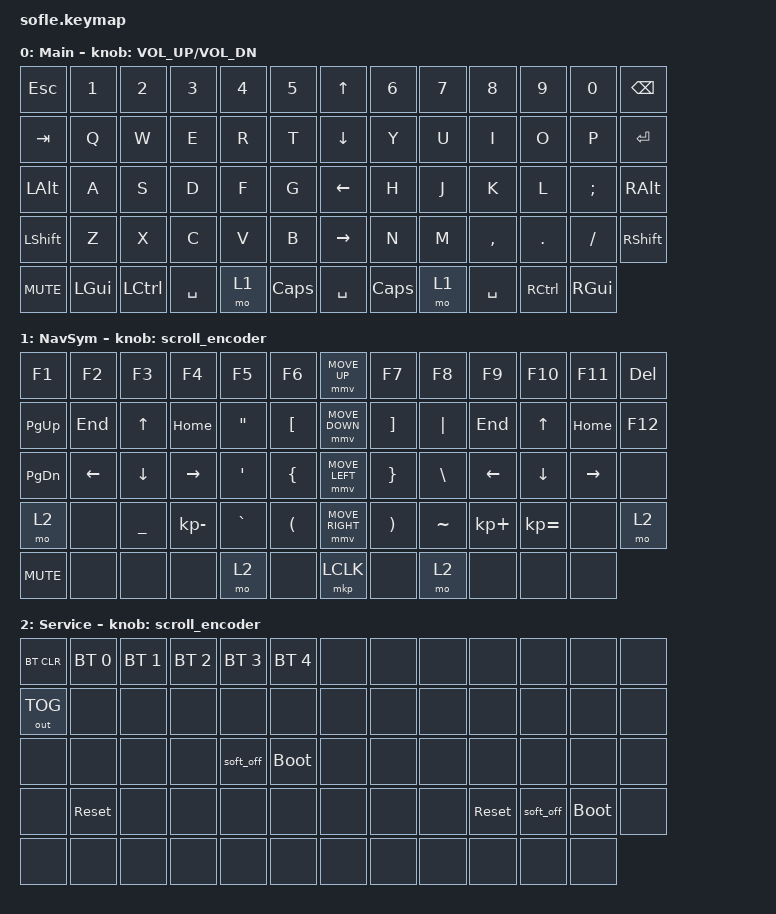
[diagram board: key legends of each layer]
#include <behaviors/mouse_keys.dtsi>
#include <behaviors.dtsi>
#include <dt-bindings/zmk/bt.h>
#include <dt-bindings/zmk/keys.h>
#include <dt-bindings/zmk/mouse.h>
#include <dt-bindings/zmk/outputs.h>

#define ZMK_MOUSE_DEFAULT_MOVE_VAL 1200  // 600
#define ZMK_MOUSE_DEFAULT_SCRL_VAL 20    // 10
#define U_MS_U &mmv MOVE_UP
#define U_MS_D &mmv MOVE_DOWN
#define U_MS_L &mmv MOVE_LEFT
#define U_MS_R &mmv MOVE_RIGHT
#define ZMK_MOUSE_DEFAULT_MOVE_VAL 1200  //  600
#define ZMK_MOUSE_DEFAULT_SCRL_VAL 20    // 10

/ {
    behaviors {
        mmv {
            acceleration-exponent = <1>;      // 1
            time-to-max-speed-ms = <900>;    // 40
            delay-ms = <0>;                   // 0
        };

        msc {
            acceleration-exponent = <1>;      // 0
            time-to-max-speed-ms = <400>;      // 500
            delay-ms = <0>;                   //   10
        };
    };

    scroll_encoder: scroll_encoder {
        compatible = "zmk,behavior-sensor-rotate";
        #sensor-binding-cells = <0>;
        bindings = <&msc SCRL_DOWN>, <&msc SCRL_UP>;

        tap-ms = <30>;
    };

    keymap {
        compatible = "zmk,keymap";

        Main {
            bindings = <
&kp ESC         &kp N1        &kp N2            &kp N3     &kp N4  &kp N5      &kp UP_ARROW     &kp N6    &kp N7  &kp N8     &kp N9             &kp N0         &kp BACKSPACE
&kp TAB         &kp Q         &kp W             &kp E      &kp R   &kp T       &kp DOWN_ARROW   &kp Y     &kp U   &kp I      &kp O              &kp P          &kp ENTER
&kp LEFT_ALT    &kp A         &kp S             &kp D      &kp F   &kp G       &kp LEFT_ARROW   &kp H     &kp J   &kp K      &kp L              &kp SEMI       &kp RIGHT_ALT
&kp LEFT_SHIFT  &kp Z         &kp X             &kp C      &kp V   &kp B       &kp RIGHT_ARROW  &kp N     &kp M   &kp COMMA  &kp DOT            &kp FSLH       &kp RIGHT_SHIFT
&kp C_MUTE      &kp LEFT_GUI  &kp LEFT_CONTROL  &kp SPACE  &mo 1   &kp CAPS    &kp SPACE        &kp CAPS  &mo 1   &kp SPACE  &kp RIGHT_CONTROL  &kp RIGHT_GUI
            >;

            sensor-bindings = <&inc_dec_kp C_VOLUME_UP C_VOL_DN>;
            display-name = "Main";
        };

        NavSym {
            bindings = <
&kp F1         &kp F2    &kp F3          &kp F4        &kp F5             &kp F6                  &mmv MOVE_UP     &kp F7                 &kp F8         &kp F9          &kp F10       &kp F11    &kp DELETE
&kp PAGE_UP    &kp END   &kp UP_ARROW    &kp HOME      &kp DOUBLE_QUOTES  &kp LEFT_BRACKET        &mmv MOVE_DOWN   &kp RIGHT_BRACKET      &kp PIPE       &kp END         &kp UP_ARROW  &kp HOME   &kp F12
&kp PAGE_DOWN  &kp LEFT  &kp DOWN        &kp RIGHT     &kp SINGLE_QUOTE   &kp LEFT_BRACE          &mmv MOVE_LEFT   &kp RIGHT_BRACE        &kp BACKSLASH  &kp LEFT_ARROW  &kp DOWN      &kp RIGHT  &none
&mo 2          &none     &kp UNDERSCORE  &kp KP_MINUS  &kp GRAVE          &kp LEFT_PARENTHESIS    &mmv MOVE_RIGHT  &kp RIGHT_PARENTHESIS  &kp TILDE      &kp KP_PLUS     &kp KP_EQUAL  &none      &mo 2
&kp C_MUTE     &none     &none           &none         &mo 2              &none                   &mkp LCLK        &none                  &mo 2          &none           &none         &none
            >;

            display-name = "NavSym";
            sensor-bindings = <&scroll_encoder>;
        };

        Service {
            bindings = <
&bt BT_CLR    &bt BT_SEL 0  &bt BT_SEL 1  &bt BT_SEL 2  &bt BT_SEL 3  &bt BT_SEL 4    &none  &none  &none  &none       &none      &none        &none
&out OUT_TOG  &none         &none         &none         &none         &none           &none  &none  &none  &none       &none      &none        &none
&none         &none         &none         &none         &soft_off     &bootloader     &none  &none  &none  &none       &none      &none        &none
&none         &sys_reset    &none         &none         &none         &none           &none  &none  &none  &sys_reset  &soft_off  &bootloader  &none
&none         &none         &none         &none         &none         &none           &none  &none  &none  &none       &none      &none
            >;

            sensor-bindings = <&scroll_encoder>;
            label = "Service";
        };
    };
};
